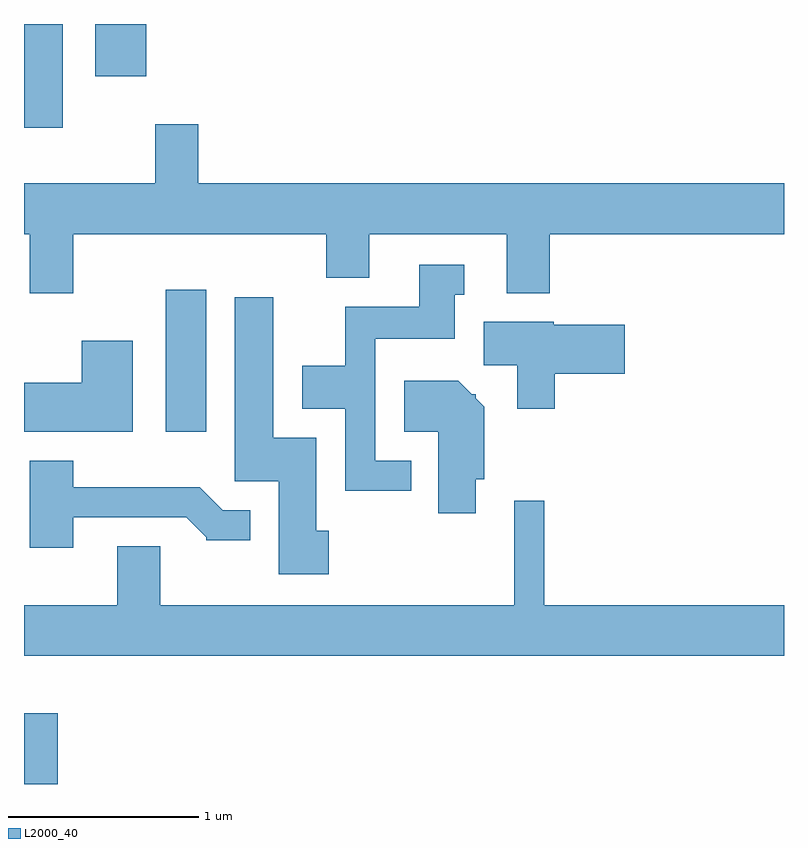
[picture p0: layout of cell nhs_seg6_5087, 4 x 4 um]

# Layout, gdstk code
import gdstk
lib = gdstk.Library(unit=1e-6, precision=1e-09)
def R(c, l, rs):  # rectangles x0, y0, x1, y1
    for r in rs: c.add(gdstk.rectangle(r[:2], r[2:], *l))
def P(c, l, *ps):  # polygons
    for p in ps: c.add(gdstk.Polygon(p, *l))
L2000_40 = (2000, 40)

nhs_seg6_5087 = lib.new_cell('nhs_seg6_5087')
R(nhs_seg6_5087, L2000_40, [(339.611,1638.162,339.789,1638.534), (340.356,1640.016,340.569,1640.764), (339.611,1641.616,339.814,1642.162), (339.986,1641.886,340.254,1642.162)])
P(nhs_seg6_5087, L2000_40, [(339.869,1641.056),(341.201,1641.056),(341.201,1640.826),(341.429,1640.826),(341.429,1641.056),(342.151,1641.056),(342.151,1640.746),(342.379,1640.746),(342.379,1641.056),(343.611,1641.056),(343.611,1641.324),(340.529,1641.324),(340.529,1641.634),(340.301,1641.634),(340.301,1641.324),(339.611,1641.324),(339.611,1641.056),(339.641,1641.056),(339.641,1640.746),(339.869,1640.746)],
  [(341.648,1639.864),(341.459,1639.864),(341.459,1640.506),(341.879,1640.506),(341.879,1640.736),(341.928,1640.736),(341.928,1640.894),(341.691,1640.894),(341.691,1640.674),(341.301,1640.674),(341.301,1640.364),(341.076,1640.364),(341.076,1640.136),(341.301,1640.136),(341.301,1639.706),(341.648,1639.706)],
  [(341.214,1639.494),(341.149,1639.494),(341.149,1639.984),(340.924,1639.984),(340.924,1640.724),(340.721,1640.724),(340.721,1639.756),(340.951,1639.756),(340.951,1639.266),(341.214,1639.266)],
  [(342.404,1640.321),(342.774,1640.321),(342.774,1640.579),(342.4,1640.579),(342.4,1640.594),(342.031,1640.594),(342.031,1640.366),(342.206,1640.366),(342.206,1640.136),(342.404,1640.136)],
  [(340.184,1640.494),(339.916,1640.494),(339.916,1640.274),(339.611,1640.274),(339.611,1640.016),(340.184,1640.016)],
  [(341.989,1639.766),(342.034,1639.766),(342.034,1640.147),(341.989,1640.192),(341.989,1640.214),(341.967,1640.214),(341.897,1640.284),(341.611,1640.284),(341.611,1640.016),(341.791,1640.016),(341.791,1639.586),(341.989,1639.586)],
  [(339.869,1639.566),(340.464,1639.566),(340.57,1639.46),(340.57,1639.446),(340.803,1639.446),(340.803,1639.604),(340.657,1639.604),(340.537,1639.724),(339.869,1639.724),(339.869,1639.864),(339.641,1639.864),(339.641,1639.406),(339.869,1639.406)],
  [(343.611,1639.104),(342.349,1639.104),(342.349,1639.653),(342.191,1639.653),(342.191,1639.104),(340.329,1639.104),(340.329,1639.414),(340.101,1639.414),(340.101,1639.104),(339.611,1639.104),(339.611,1638.836),(343.611,1638.836)])

lib.write_gds('nhs_seg6_5087.gds')
